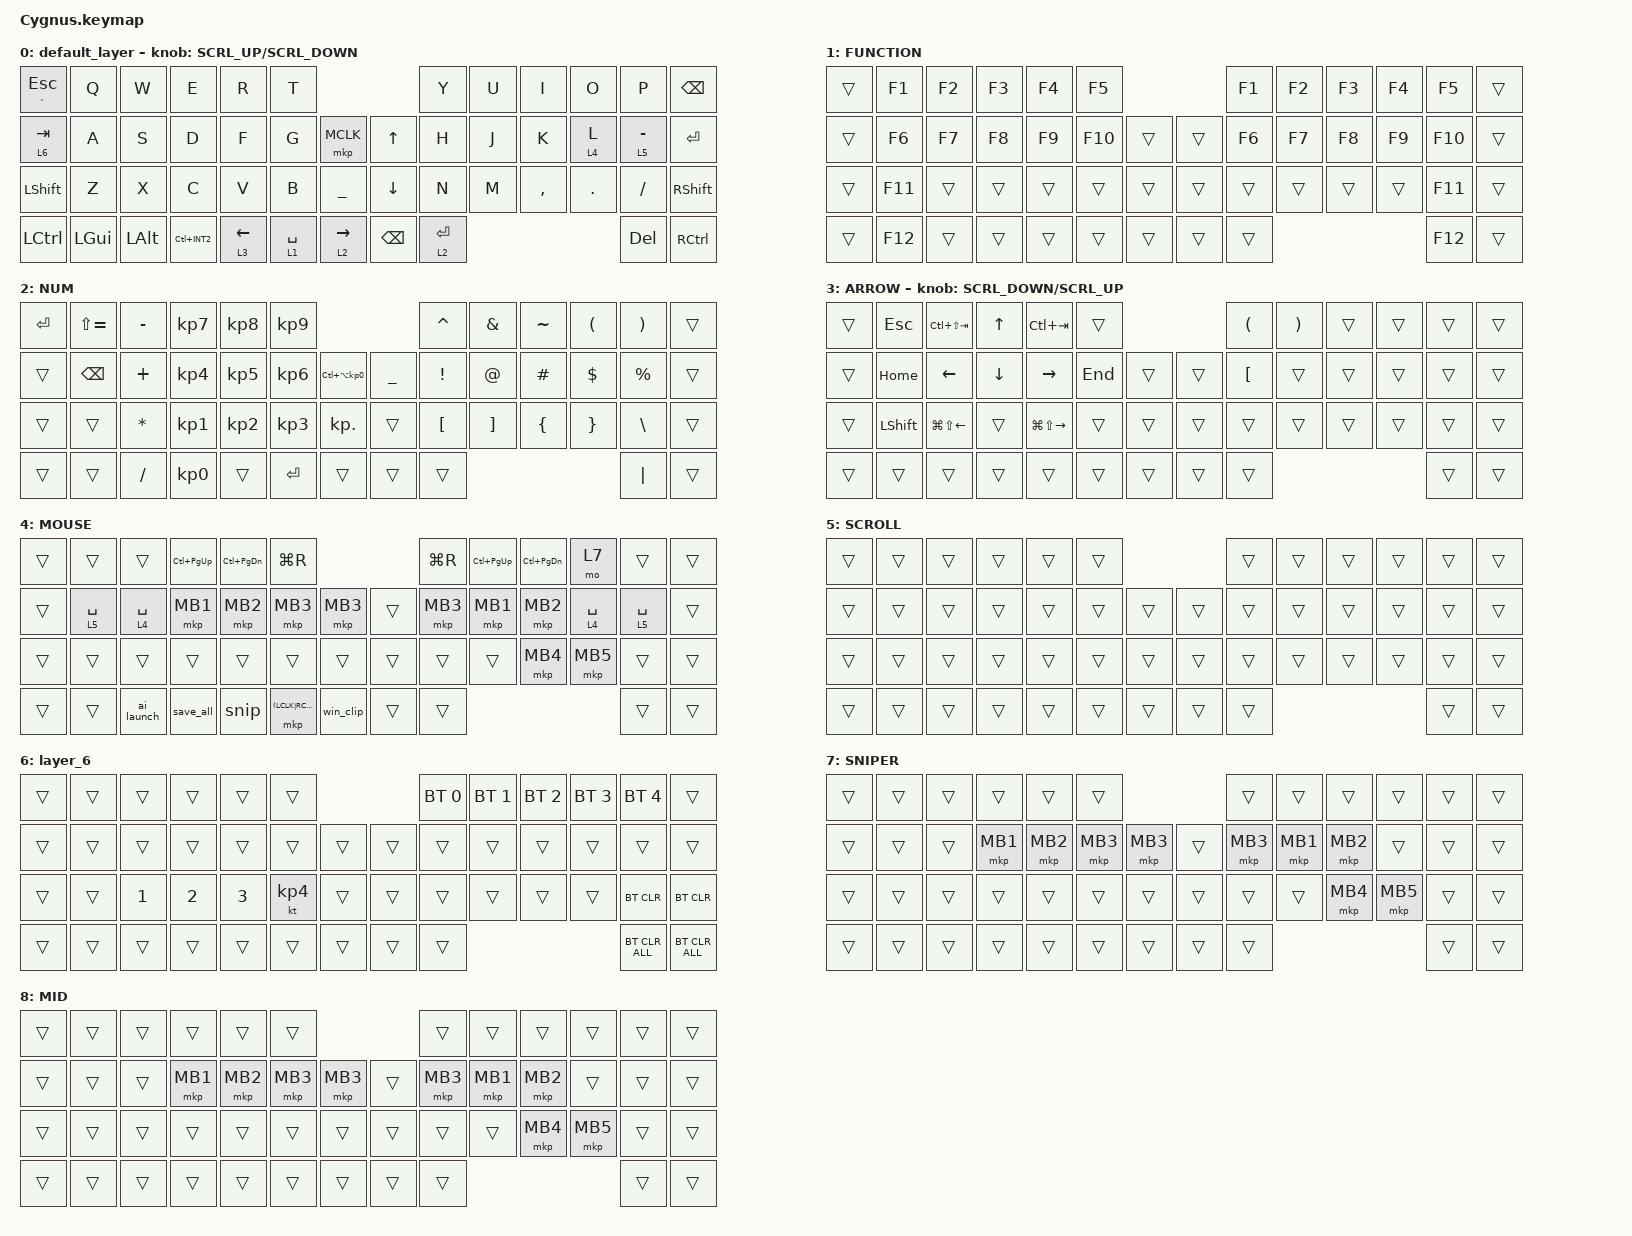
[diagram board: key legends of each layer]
#define ZMK_POINTING_DEFAULT_SCRL_VAL 120    // default: 10
#define MOUSE 4
#define SCROLL 5
#define NUM 6
#define SNIPER 7
#define MID 8

#include <input/processors.dtsi>
#include <behaviors.dtsi>
#include <dt-bindings/zmk/bt.h>
#include <dt-bindings/zmk/keys.h>
#include <dt-bindings/zmk/pointing.h>

&mkp_input_listener { input-processors = <&zip_temp_layer  4 250>; };

&mt {
    flavor = "balanced";
    quick-tap-ms = <0>;
};

/ {
    combos {
        compatible = "zmk,combos";

        double_quotation {
            bindings = <&kp DOUBLE_QUOTES>;
            key-positions = <20 21>;
        };

        esc_jk {
            bindings = <&kp ESCAPE>;
            key-positions = <21 22>;          // J + K
            require-prior-idle-ms = <150>;
        };


        tab_close {
            bindings = <&kp LC(W)>;
            key-positions = <7 8>;            // U + I
            require-prior-idle-ms = <150>;
        };

        tab_reopen {
            bindings = <&kp LC(LS(T))>;
            key-positions = <35 36>;          // M + COMMA
            require-prior-idle-ms = <150>;
        };
    };

    macros {
        to_layer_0: to_layer_0 {
            compatible = "zmk,behavior-macro-one-param";
            #binding-cells = <1>;
            bindings = <&to 0 &macro_param_1to1 &kp MACRO_PLACEHOLDER>;
            label = "TO_LAYER_0";
        };

        save_all: save_all {
            compatible = "zmk,behavior-macro";
            #binding-cells = <0>;
            bindings = <&kp LC(S)>;
        };

        win_clip: win_clip {
            compatible = "zmk,behavior-macro";
            #binding-cells = <0>;
            bindings = <&kp LG(V)>;
        };

        snip: snip {
            compatible = "zmk,behavior-macro";
            #binding-cells = <0>;
            bindings = <&kp LG(LS(S))>;
        };

        ai_launch: ai_launch {
            compatible = "zmk,behavior-macro";
            #binding-cells = <0>;
            bindings = <&kp LC(LA(SPACE))>;
        };

        task_view: task_view {
            compatible = "zmk,behavior-macro";
            #binding-cells = <0>;
            bindings = <&kp LG(TAB)>;
        };
    };

    behaviors {
        lt_to_layer_0: lt_to_layer_0 {
            compatible = "zmk,behavior-hold-tap";
            label = "LAYER_TAP_TO_0";
            bindings = <&mo>, <&to_layer_0>;

            #binding-cells = <2>;
            tapping-term-ms = <200>;
        };

        ROTATE: ROTATE {
            compatible = "zmk,behavior-sensor-rotate-var";
            label = "ROTATE";
            #sensor-binding-cells = <2>;
            bindings = <&msc>, <&msc>;

            tap-ms = <20>;
        };
    };

    keymap {
        compatible = "zmk,keymap";

        default_layer {
            bindings = <&mt GRAVE ESCAPE  &kp Q     &kp W     &kp E         &kp R       &kp T                                          &kp Y        &kp U  &kp I      &kp O    &kp P        &kp BSPC
&lt 6 TAB         &kp A     &kp S     &kp D         &kp F       &kp G        &mkp MCLK         &kp UP_ARROW    &kp H        &kp J  &kp K      &lt 4 L  &lt 5 MINUS  &kp ENTER
&kp LSHFT         &kp Z     &kp X     &kp C         &kp V       &kp B        &kp UNDERSCORE    &kp DOWN_ARROW  &kp N        &kp M  &kp COMMA  &kp DOT  &kp FSLH     &kp RSHFT
&kp LCTRL         &kp LGUI  &kp LALT  &kp LC(INT2)  &lt 3 LEFT  &lt 1 SPACE  &lt 2 RIGHT       &kp BACKSPACE   &lt 2 ENTER                             &kp DEL      &kp RCTRL
            >;

            sensor-bindings = <&ROTATE SCRL_UP SCRL_DOWN>;
        };

        FUNCTION {
            bindings = <&trans  &kp F1   &kp F2  &kp F3  &kp F4  &kp F5                     &kp F1  &kp F2  &kp F3  &kp F4  &kp F5   &trans
&trans  &kp F6   &kp F7  &kp F8  &kp F9  &kp F10  &trans    &trans  &kp F6  &kp F7  &kp F8  &kp F9  &kp F10  &trans
&trans  &kp F11  &trans  &trans  &trans  &trans   &trans    &trans  &trans  &trans  &trans  &trans  &kp F11  &trans
&trans  &kp F12  &trans  &trans  &trans  &trans   &trans    &trans  &trans                          &kp F12  &trans
            >;
        };

        NUM {
            bindings = <&kp ENTER  &kp LS(EQUAL)  &kp MINUS  &kp KP_NUMBER_7  &kp KP_N8        &kp KP_NUMBER_9                                             &kp CARET         &kp AMPERSAND      &kp TILDE       &kp LEFT_PARENTHESIS  &kp RIGHT_PARENTHESIS  &trans
&trans     &kp BACKSPACE  &kp PLUS   &kp KP_NUMBER_4  &kp KP_NUMBER_5  &kp KP_NUMBER_6  &kp LC(LA(KP_NUMBER_0))    &kp UNDERSCORE  &kp EXCLAMATION   &kp AT_SIGN        &kp HASH        &kp DOLLAR            &kp PERCENT            &trans
&trans     &trans         &kp ASTRK  &kp KP_NUMBER_1  &kp KP_NUMBER_2  &kp KP_NUMBER_3  &kp KP_DOT                 &trans          &kp LEFT_BRACKET  &kp RIGHT_BRACKET  &kp LEFT_BRACE  &kp RIGHT_BRACE       &kp BACKSLASH          &trans
&trans     &trans         &kp SLASH  &kp KP_N0        &trans           &kp ENTER        &trans                     &trans          &trans                                                                     &kp PIPE               &trans
            >;
        };

        ARROW {
            bindings = <&trans  &kp ESCAPE      &kp LC(LS(TAB))         &kp UP_ARROW    &kp LC(TAB)              &trans                     &kp LPAR          &kp RIGHT_PARENTHESIS  &trans  &trans  &trans  &trans
&trans  &kp HOME        &kp LEFT_ARROW          &kp DOWN_ARROW  &kp RIGHT_ARROW          &kp END  &trans    &trans  &kp LEFT_BRACKET  &trans                 &trans  &trans  &trans  &trans
&trans  &kp LEFT_SHIFT  &kp LG(LS(LEFT_ARROW))  &trans          &kp LG(LS(RIGHT_ARROW))  &trans   &trans    &trans  &trans            &trans                 &trans  &trans  &trans  &trans
&trans  &trans          &trans                  &trans          &trans                   &trans   &trans    &trans  &trans                                                   &trans  &trans
            >;

            sensor-bindings = <&ROTATE SCRL_DOWN SCRL_UP>;
        };

        MOUSE {
            bindings = <&trans  &trans     &trans  &kp LC(PAGE_UP)  &kp LC(PAGE_DOWN)  &kp LG(R)                       &kp LG(R)  &kp LC(PAGE_UP)  &kp LC(PAGE_DOWN)  &mo 7        &trans       &trans
&trans  &lt 5 SPACE  &lt 4 SPACE  &mkp MB1  &mkp MB2  &mkp MB3    &mkp MB3    &trans  &mkp MB3   &mkp MB1         &mkp MB2           &lt 4 SPACE  &lt 5 SPACE  &trans
&trans  &trans       &trans       &trans    &trans    &trans      &trans      &trans  &trans     &trans           &mkp MB4           &mkp MB5     &trans       &trans
&trans  &trans       &ai_launch   &save_all &snip     &mkp (LCLK|RCLK)  &win_clip   &trans  &trans                                                      &trans       &trans
            >;
        };

        SCROLL {
            bindings = <&trans  &trans  &trans  &trans  &trans  &trans                    &trans  &trans  &trans  &trans  &trans  &trans
&trans  &trans  &trans  &trans  &trans  &trans  &trans    &trans  &trans  &trans  &trans  &trans  &trans  &trans
&trans  &trans  &trans  &trans  &trans  &trans  &trans    &trans  &trans  &trans  &trans  &trans  &trans  &trans
&trans  &trans  &trans  &trans  &trans  &trans  &trans    &trans  &trans                          &trans  &trans
            >;
        };

        layer_6 {
            bindings = <&trans  &trans  &trans        &trans        &trans        &trans                       &bt BT_SEL 0  &bt BT_SEL 1  &bt BT_SEL 2  &bt BT_SEL 3  &bt BT_SEL 4    &trans
&trans  &trans  &trans        &trans        &trans        &trans     &trans    &trans  &trans        &trans        &trans        &trans        &trans          &trans
&trans  &trans  &kp NUMBER_1  &kp NUMBER_2  &kp NUMBER_3  &kt KP_N4  &trans    &trans  &trans        &trans        &trans        &trans        &bt BT_CLR      &bt BT_CLR
&trans  &trans  &trans        &trans        &trans        &trans     &trans    &trans  &trans                                                  &bt BT_CLR_ALL  &bt BT_CLR_ALL
            >;
        };

        SNIPER {
            bindings = <&trans  &trans  &trans  &trans    &trans    &trans                        &trans    &trans    &trans    &trans    &trans  &trans
&trans  &trans  &trans  &mkp MB1  &mkp MB2  &mkp MB3  &mkp MB3    &trans  &mkp MB3  &mkp MB1  &mkp MB2  &trans    &trans  &trans
&trans  &trans  &trans  &trans    &trans    &trans    &trans      &trans  &trans    &trans    &mkp MB4  &mkp MB5  &trans  &trans
&trans  &trans  &trans  &trans    &trans    &trans    &trans      &trans  &trans                                  &trans  &trans
            >;
        };

        MID {
            bindings = <&trans  &trans  &trans  &trans    &trans    &trans                        &trans    &trans    &trans    &trans    &trans  &trans
&trans  &trans  &trans  &mkp MB1  &mkp MB2  &mkp MB3  &mkp MB3    &trans  &mkp MB3  &mkp MB1  &mkp MB2  &trans    &trans  &trans
&trans  &trans  &trans  &trans    &trans    &trans    &trans      &trans  &trans    &trans    &mkp MB4  &mkp MB5  &trans  &trans
&trans  &trans  &trans  &trans    &trans    &trans    &trans      &trans  &trans                                  &trans  &trans
            >;
        };
    };
};
